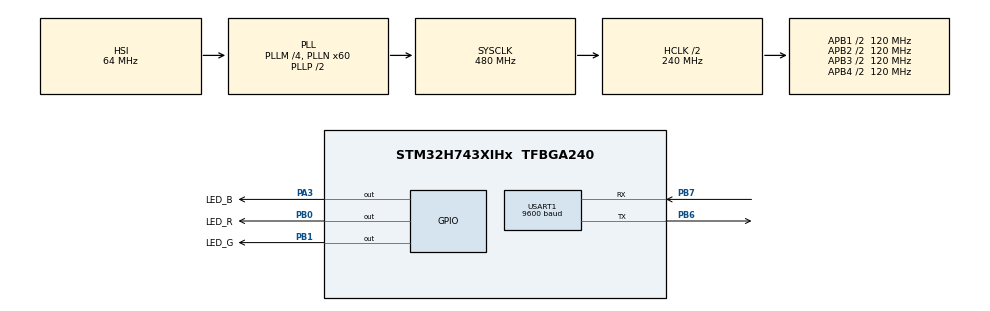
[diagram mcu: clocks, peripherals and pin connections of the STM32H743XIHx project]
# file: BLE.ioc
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CORTEX_M7.default_mode_Activation=1
Dma.Request0=USART1_TX
Dma.Request1=USART1_RX
Dma.USART1_RX.1.Direction=DMA_PERIPH_TO_MEMORY
Dma.USART1_RX.1.EventEnable=DISABLE
Dma.USART1_RX.1.FIFOMode=DMA_FIFOMODE_DISABLE
Dma.USART1_RX.1.Instance=DMA1_Stream1
Dma.USART1_RX.1.MemDataAlignment=DMA_MDATAALIGN_BYTE
Dma.USART1_RX.1.MemInc=DMA_MINC_ENABLE
Dma.USART1_RX.1.Mode=DMA_NORMAL
Dma.USART1_RX.1.PeriphDataAlignment=DMA_PDATAALIGN_BYTE
Dma.USART1_RX.1.PeriphInc=DMA_PINC_DISABLE
Dma.USART1_RX.1.Polarity=HAL_DMAMUX_REQ_GEN_RISING
Dma.USART1_RX.1.Priority=DMA_PRIORITY_LOW
Dma.USART1_RX.1.RequestNumber=1
Dma.USART1_RX.1.SignalID=NONE
Dma.USART1_RX.1.SyncEnable=DISABLE
Dma.USART1_RX.1.SyncPolarity=HAL_DMAMUX_SYNC_NO_EVENT
Dma.USART1_RX.1.SyncRequestNumber=1
Dma.USART1_RX.1.SyncSignalID=NONE
Dma.USART1_TX.0.Direction=DMA_MEMORY_TO_PERIPH
Dma.USART1_TX.0.EventEnable=DISABLE
Dma.USART1_TX.0.FIFOMode=DMA_FIFOMODE_DISABLE
Dma.USART1_TX.0.Instance=DMA1_Stream0
Dma.USART1_TX.0.MemDataAlignment=DMA_MDATAALIGN_BYTE
Dma.USART1_TX.0.MemInc=DMA_MINC_ENABLE
Dma.USART1_TX.0.Mode=DMA_NORMAL
Dma.USART1_TX.0.PeriphDataAlignment=DMA_PDATAALIGN_BYTE
Dma.USART1_TX.0.PeriphInc=DMA_PINC_DISABLE
Dma.USART1_TX.0.Polarity=HAL_DMAMUX_REQ_GEN_RISING
Dma.USART1_TX.0.Priority=DMA_PRIORITY_LOW
Dma.USART1_TX.0.RequestNumber=1
Dma.USART1_TX.0.SignalID=NONE
Dma.USART1_TX.0.SyncEnable=DISABLE
Dma.USART1_TX.0.SyncPolarity=HAL_DMAMUX_SYNC_NO_EVENT
Dma.USART1_TX.0.SyncRequestNumber=1
Dma.USART1_TX.0.SyncSignalID=NONE
Mcu.Family=STM32H7
Mcu.Name=STM32H743XIHx
Mcu.Package=TFBGA240
NVIC.DMA1_Stream0_IRQn=true\:0\:0\:false\:false\:true\:false\:true\:true
NVIC.DMA1_Stream1_IRQn=true\:0\:0\:false\:false\:true\:false\:true\:true
NVIC.PriorityGroup=NVIC_PRIORITYGROUP_4
NVIC.USART1_IRQn=true\:0\:0\:false\:false\:true\:true\:true\:true
PA3.GPIO_Label=LED_B
PA3.PinState=GPIO_PIN_SET
PA3.Signal=GPIO_Output
PB0.GPIO_Label=LED_R
PB0.PinState=GPIO_PIN_SET
PB0.Signal=GPIO_Output
PB1.GPIO_Label=LED_G
PB1.PinState=GPIO_PIN_SET
PB1.Signal=GPIO_Output
PB6.Mode=Asynchronous
PB6.Signal=USART1_TX
PB7.Mode=Asynchronous
PB7.Signal=USART1_RX
PC14-OSC32_IN\ (OSC32_IN).Mode=LSE-External-Oscillator
PC14-OSC32_IN\ (OSC32_IN).Signal=RCC_OSC32_IN
PC15-OSC32_OUT\ (OSC32_OUT).Mode=LSE-External-Oscillator
PC15-OSC32_OUT\ (OSC32_OUT).Signal=RCC_OSC32_OUT
PH0-OSC_IN\ (PH0).Mode=HSE-External-Oscillator
PH0-OSC_IN\ (PH0).Signal=RCC_OSC_IN
PH1-OSC_OUT\ (PH1).Mode=HSE-External-Oscillator
PH1-OSC_OUT\ (PH1).Signal=RCC_OSC_OUT
ProjectManager.HeapSize=0x200
ProjectManager.StackSize=0x400
ProjectManager.TargetToolchain=STM32CubeIDE
RCC.ADCFreq_Value=129000000
RCC.APB1Freq_Value=120000000
RCC.APB2Freq_Value=120000000
RCC.APB3Freq_Value=120000000
RCC.APB4Freq_Value=120000000
RCC.CortexFreq_Value=480000000
RCC.D1PPRE=RCC_APB3_DIV2
RCC.D2PPRE1=RCC_APB1_DIV2
RCC.D2PPRE2=RCC_APB2_DIV2
RCC.D3PPRE=RCC_APB4_DIV2
RCC.DIVM1=4
RCC.DIVN1=60
RCC.HCLKFreq_Value=240000000
RCC.HPRE=RCC_HCLK_DIV2
RCC.PLL2FRACN=0
RCC.PLL3FRACN=0
RCC.PLLFRACN=0
RCC.SYSCLKFreq_VALUE=480000000
RCC.SYSCLKSource=RCC_SYSCLKSOURCE_PLLCLK
RCC.USBFreq_Value=480000000
USART1.BaudRate=9600
USART1.VirtualMode-Asynchronous=VM_ASYNC
board=custom

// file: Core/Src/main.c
/* USER CODE BEGIN Header */
/**
  ******************************************************************************
  * @file           : main.c
  * @brief          : Main program body
  ******************************************************************************
  * @attention
  *
  * Copyright (c) 2024 STMicroelectronics.
  * All rights reserved.
  *
  * This software is licensed under terms that can be found in the LICENSE file
  * in the root directory of this software component.
  * If no LICENSE file comes with this software, it is provided AS-IS.
  *
  ******************************************************************************
  */
/* USER CODE END Header */
#include "main.h"

UART_HandleTypeDef huart1;
DMA_HandleTypeDef hdma_usart1_tx;
DMA_HandleTypeDef hdma_usart1_rx;

/* USER CODE BEGIN PV */

uint8_t receiveData[50];

/* USER CODE END PV */

void SystemClock_Config(void);
static void MPU_Config(void);
static void MX_GPIO_Init(void);
static void MX_DMA_Init(void);
static void MX_USART1_UART_Init(void);

/* USER CODE BEGIN 0 */

void HAL_UARTEx_RxEventCallback(UART_HandleTypeDef *huart, uint16_t Size)	// 处理串口接收的数据
{
	if(huart == &huart1)
	{
		// 原封返回接收的数据
		HAL_UART_Transmit_DMA(&huart1, receiveData, Size);

		// 数据包格式
		// 0xAA 	0x07	 0x01	 0xFF	 0x02	 0x00	 0xB3
		// 包头  	包长度	 LED_R 	 点亮	 LED_G	 熄灭 	 校验和
		if(receiveData[0] == 0xAA)								// 包头
		{
			if(receiveData[1] == Size)							// 包长度
			{
				uint8_t sum = 0;								// 校验和
				for (uint8_t i = 0; i < Size - 1; i++)
				{
					sum = sum + receiveData[i];
				}// end of 校验和
				if(sum == receiveData[Size - 1])				// 确认无误
				{
					for(uint8_t i = 2; i < Size - 2; i += 2)	// 分析指令
					{
						GPIO_PinState state = GPIO_PIN_SET;
						if(receiveData[i + 1] == 0x00)
						{
							state = GPIO_PIN_SET;
						}
						else
						{
							state = GPIO_PIN_RESET;
						}

						if(receiveData[i] == 0x01)
						{
							HAL_GPIO_WritePin(LED_R_GPIO_Port, LED_R_Pin, state);
						}
						else if(receiveData[i] == 0x02)
						{
							HAL_GPIO_WritePin(LED_G_GPIO_Port, LED_G_Pin, state);
						}
						else if(receiveData[i] == 0x03)
						{
							HAL_GPIO_WritePin(LED_B_GPIO_Port, LED_B_Pin, state);
						}
					}// end of 分析指令
				}
			}// end of 包长度
		}// end of 包头

		HAL_UARTEx_ReceiveToIdle_DMA(&huart1, receiveData, sizeof(receiveData));
		__HAL_DMA_DISABLE_IT(&hdma_usart1_rx, DMA_IT_HT);
	}
}

/* USER CODE END 0 */

int main(void)
{

  /* MPU Configuration--------------------------------------------------------*/
  MPU_Config();

  /* MCU Configuration--------------------------------------------------------*/

  /* Reset of all peripherals, Initializes the Flash interface and the Systick. */
  HAL_Init();

  /* Configure the system clock */
  SystemClock_Config();

  /* Initialize all configured peripherals */
  MX_GPIO_Init();
  MX_DMA_Init();
  MX_USART1_UART_Init();
  /* USER CODE BEGIN 2 */

  HAL_UARTEx_ReceiveToIdle_DMA(&huart1, receiveData, sizeof(receiveData));	// 开启不定长数据接收
  __HAL_DMA_DISABLE_IT(&hdma_usart1_rx, DMA_IT_HT);							// 关闭传输过半中断

  /* USER CODE END 2 */

  /* Infinite loop */
  while (1)
  {

  }
}

void SystemClock_Config(void)
{
  RCC_OscInitTypeDef RCC_OscInitStruct = {0};
  RCC_ClkInitTypeDef RCC_ClkInitStruct = {0};

  /** Supply configuration update enable
  */
  HAL_PWREx_ConfigSupply(PWR_LDO_SUPPLY);

  /** Configure the main internal regulator output voltage
  */
  __HAL_PWR_VOLTAGESCALING_CONFIG(PWR_REGULATOR_VOLTAGE_SCALE1);

  while(!__HAL_PWR_GET_FLAG(PWR_FLAG_VOSRDY)) {}

  __HAL_RCC_SYSCFG_CLK_ENABLE();
  __HAL_PWR_VOLTAGESCALING_CONFIG(PWR_REGULATOR_VOLTAGE_SCALE0);

  while(!__HAL_PWR_GET_FLAG(PWR_FLAG_VOSRDY)) {}

  /** Initializes the RCC Oscillators according to the specified parameters
  * in the RCC_OscInitTypeDef structure.
  */
  RCC_OscInitStruct.OscillatorType = RCC_OSCILLATORTYPE_HSI;
  RCC_OscInitStruct.HSIState = RCC_HSI_DIV1;
  RCC_OscInitStruct.HSICalibrationValue = RCC_HSICALIBRATION_DEFAULT;
  RCC_OscInitStruct.PLL.PLLState = RCC_PLL_ON;
  RCC_OscInitStruct.PLL.PLLSource = RCC_PLLSOURCE_HSI;
  RCC_OscInitStruct.PLL.PLLM = 4;
  RCC_OscInitStruct.PLL.PLLN = 60;
  RCC_OscInitStruct.PLL.PLLP = 2;
  RCC_OscInitStruct.PLL.PLLQ = 2;
  RCC_OscInitStruct.PLL.PLLR = 2;
  RCC_OscInitStruct.PLL.PLLRGE = RCC_PLL1VCIRANGE_3;
  RCC_OscInitStruct.PLL.PLLVCOSEL = RCC_PLL1VCOWIDE;
  RCC_OscInitStruct.PLL.PLLFRACN = 0;
  if (HAL_RCC_OscConfig(&RCC_OscInitStruct) != HAL_OK)
  {
    Error_Handler();
  }

  /** Initializes the CPU, AHB and APB buses clocks
  */
  RCC_ClkInitStruct.ClockType = RCC_CLOCKTYPE_HCLK|RCC_CLOCKTYPE_SYSCLK
                              |RCC_CLOCKTYPE_PCLK1|RCC_CLOCKTYPE_PCLK2
                              |RCC_CLOCKTYPE_D3PCLK1|RCC_CLOCKTYPE_D1PCLK1;
  RCC_ClkInitStruct.SYSCLKSource = RCC_SYSCLKSOURCE_PLLCLK;
  RCC_ClkInitStruct.SYSCLKDivider = RCC_SYSCLK_DIV1;
  RCC_ClkInitStruct.AHBCLKDivider = RCC_HCLK_DIV2;
  RCC_ClkInitStruct.APB3CLKDivider = RCC_APB3_DIV2;
  RCC_ClkInitStruct.APB1CLKDivider = RCC_APB1_DIV2;
  RCC_ClkInitStruct.APB2CLKDivider = RCC_APB2_DIV2;
  RCC_ClkInitStruct.APB4CLKDivider = RCC_APB4_DIV2;

  if (HAL_RCC_ClockConfig(&RCC_ClkInitStruct, FLASH_LATENCY_4) != HAL_OK)
  {
    Error_Handler();
  }
}

static void MX_USART1_UART_Init(void)
{

  huart1.Instance = USART1;
  huart1.Init.BaudRate = 9600;
  huart1.Init.WordLength = UART_WORDLENGTH_8B;
  huart1.Init.StopBits = UART_STOPBITS_1;
  huart1.Init.Parity = UART_PARITY_NONE;
  huart1.Init.Mode = UART_MODE_TX_RX;
  huart1.Init.HwFlowCtl = UART_HWCONTROL_NONE;
  huart1.Init.OverSampling = UART_OVERSAMPLING_16;
  huart1.Init.OneBitSampling = UART_ONE_BIT_SAMPLE_DISABLE;
  huart1.Init.ClockPrescaler = UART_PRESCALER_DIV1;
  huart1.AdvancedInit.AdvFeatureInit = UART_ADVFEATURE_NO_INIT;
  if (HAL_UART_Init(&huart1) != HAL_OK)
  {
    Error_Handler();
  }
  if (HAL_UARTEx_SetTxFifoThreshold(&huart1, UART_TXFIFO_THRESHOLD_1_8) != HAL_OK)
  {
    Error_Handler();
  }
  if (HAL_UARTEx_SetRxFifoThreshold(&huart1, UART_RXFIFO_THRESHOLD_1_8) != HAL_OK)
  {
    Error_Handler();
  }
  if (HAL_UARTEx_DisableFifoMode(&huart1) != HAL_OK)
  {
    Error_Handler();
  }

}

static void MX_DMA_Init(void)
{

  /* DMA controller clock enable */
  __HAL_RCC_DMA1_CLK_ENABLE();

  /* DMA interrupt init */
  /* DMA1_Stream0_IRQn interrupt configuration */
  HAL_NVIC_SetPriority(DMA1_Stream0_IRQn, 0, 0);
  HAL_NVIC_EnableIRQ(DMA1_Stream0_IRQn);
  /* DMA1_Stream1_IRQn interrupt configuration */
  HAL_NVIC_SetPriority(DMA1_Stream1_IRQn, 0, 0);
  HAL_NVIC_EnableIRQ(DMA1_Stream1_IRQn);

}

static void MX_GPIO_Init(void)
{
  GPIO_InitTypeDef GPIO_InitStruct = {0};

  /* GPIO Ports Clock Enable */
  __HAL_RCC_GPIOB_CLK_ENABLE();
  __HAL_RCC_GPIOC_CLK_ENABLE();
  __HAL_RCC_GPIOH_CLK_ENABLE();
  __HAL_RCC_GPIOA_CLK_ENABLE();

  /*Configure GPIO pin Output Level */
  HAL_GPIO_WritePin(GPIOB, LED_G_Pin|LED_R_Pin, GPIO_PIN_SET);

  /*Configure GPIO pin Output Level */
  HAL_GPIO_WritePin(LED_B_GPIO_Port, LED_B_Pin, GPIO_PIN_SET);

  /*Configure GPIO pins : LED_G_Pin LED_R_Pin */
  GPIO_InitStruct.Pin = LED_G_Pin|LED_R_Pin;
  GPIO_InitStruct.Mode = GPIO_MODE_OUTPUT_PP;
  GPIO_InitStruct.Pull = GPIO_NOPULL;
  GPIO_InitStruct.Speed = GPIO_SPEED_FREQ_LOW;
  HAL_GPIO_Init(GPIOB, &GPIO_InitStruct);

  /*Configure GPIO pin : LED_B_Pin */
  GPIO_InitStruct.Pin = LED_B_Pin;
  GPIO_InitStruct.Mode = GPIO_MODE_OUTPUT_PP;
  GPIO_InitStruct.Pull = GPIO_NOPULL;
  GPIO_InitStruct.Speed = GPIO_SPEED_FREQ_LOW;
  HAL_GPIO_Init(LED_B_GPIO_Port, &GPIO_InitStruct);

}

 /* MPU Configuration */

void MPU_Config(void)
{
  MPU_Region_InitTypeDef MPU_InitStruct = {0};

  /* Disables the MPU */
  HAL_MPU_Disable();

  /** Initializes and configures the Region and the memory to be protected
  */
  MPU_InitStruct.Enable = MPU_REGION_ENABLE;
  MPU_InitStruct.Number = MPU_REGION_NUMBER0;
  MPU_InitStruct.BaseAddress = 0x0;
  MPU_InitStruct.Size = MPU_REGION_SIZE_4GB;
  MPU_InitStruct.SubRegionDisable = 0x87;
  MPU_InitStruct.TypeExtField = MPU_TEX_LEVEL0;
  MPU_InitStruct.AccessPermission = MPU_REGION_NO_ACCESS;
  MPU_InitStruct.DisableExec = MPU_INSTRUCTION_ACCESS_DISABLE;
  MPU_InitStruct.IsShareable = MPU_ACCESS_SHAREABLE;
  MPU_InitStruct.IsCacheable = MPU_ACCESS_NOT_CACHEABLE;
  MPU_InitStruct.IsBufferable = MPU_ACCESS_NOT_BUFFERABLE;

  HAL_MPU_ConfigRegion(&MPU_InitStruct);
  /* Enables the MPU */
  HAL_MPU_Enable(MPU_PRIVILEGED_DEFAULT);

}

void Error_Handler(void)
{
  __disable_irq();
  while (1)
  {
  }
}
